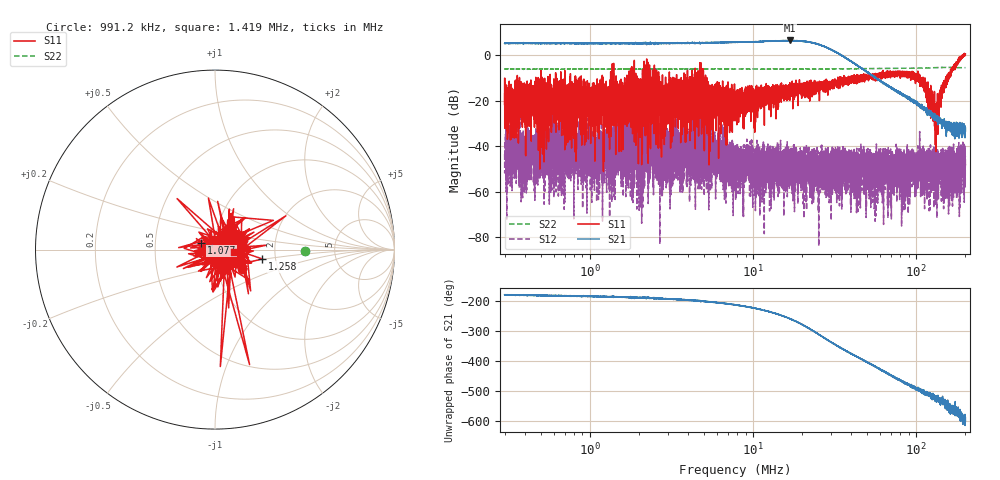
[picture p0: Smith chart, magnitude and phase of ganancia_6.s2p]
# Hz S DB R 50
! CMT, M5065, 19127446, 24.2.4/2
! Date: 11/1/2024 3:08:04 PM
! Data: Format (Calibration Info)
! Freq	S11:dB/Ang(F2)	S21:dB/Ang(F2)	S12:dB/Ang(F2)	S22:dB/Ang(F2)
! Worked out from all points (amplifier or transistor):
!   9000 points, 300 kHz to 200 MHz, reference 50 ohm
!   highest |S21| = 6.6 dB at 16.79 MHz (marker M1)
!   |S21| within 3 dB of that: start of sweep to 27.84 MHz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
!   unconditionally stable (mu >= 1): start of sweep to 191.4 MHz; 191.6 MHz to 193.1 MHz; 193.9891 MHz to 194.6158 MHz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
!   at 886.8 kHz: K = 7.22, MAG = 6.8 dB, |S12| = -31.5 dB
!   at 7.749 MHz: K = 33.92, MAG = 7.0 dB, |S12| = -45.0 dB
!   at 200 MHz: K = -427.92, MSG = 5.6 dB, |S12| = -44.5 dB
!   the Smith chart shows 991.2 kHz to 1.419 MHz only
!   S11 on the Smith chart (normalised r, x): 991.2 kHz: 1.32, -0.30; 1.077 MHz: 0.86, +0.07; 1.258 MHz: 1.70, -0.19; 1.419 MHz: 1.24, -0.04
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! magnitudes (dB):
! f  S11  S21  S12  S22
! 300 kHz  -16.9  5.3  -43.5  -6.0
! 319.2 kHz  -16.2  5.3  -47.4  -6.1
! 886.8 kHz  -11.2  5.3  -31.5  -6.1
! 991.2 kHz  -14.5  5.3  -31.8  -6.0
! 1.077 MHz  -21.4  5.3  -54.1  -6.0
! 1.258 MHz  -11.4  5.1  -37.2  -6.1
! 1.419 MHz  -19.3  5.3  -40.9  -6.0
! 1.736 MHz  -19.9  5.3  -42.2  -6.1
! 2.068 MHz  -24.4  5.3  -48.0  -6.0
! 2.196 MHz  -23.3  5.3  -38.5  -6.0
! 2.621 MHz  -40.9  5.4  -54.8  -6.0
! 4.744 MHz  -22.0  5.5  -50.4  -6.0
! 5.51 MHz  -25.2  5.6  -47.4  -6.0
! 7.749 MHz  -20.1  5.7  -45.0  -6.0
! 16.79 MHz  -12.0  6.6  -43.7  -6.0
! 22.91 MHz  -11.8  5.7  -50.7  -6.0
! 67.71 MHz  -8.9  -13.6  -44.9  -5.7
! 103 MHz  -9.5  -21.8  -46.0  -5.6
! 114.2 MHz  -14.7  -24.2  -47.7  -5.5
! 132 MHz  -25.3  -26.8  -52.0  -5.4
! 152.6 MHz  -10.7  -31.6  -41.5  -5.3
! 200 MHz  0.6  -33.3  -44.5  -5.4
